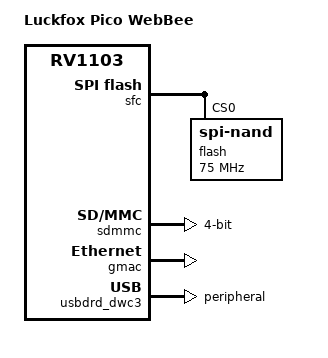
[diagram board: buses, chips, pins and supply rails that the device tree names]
// SPDX-License-Identifier: (GPL-2.0+ OR MIT)
/*
 * Copyright (c) 2022 Rockchip Electronics Co., Ltd.
 */

/dts-v1/;

#include "rv1103.dtsi"
#include "rv1106-evb.dtsi"
#include "rv1103-luckfox-pico-ipc.dtsi"

/ {
	model = "Luckfox Pico WebBee";
	compatible = "rockchip,rv1103g-38x38-ipc-v10", "rockchip,rv1103";
};

/**********SFC**********/
&sfc {
	status = "okay";
	flash@0 {
		compatible = "spi-nand";
		reg = <0>;
		spi-max-frequency = <75000000>;
		spi-rx-bus-width = <4>;
		spi-tx-bus-width = <1>;
	};
};

/**********SDMMC**********/
&sdmmc {
	max-frequency = <50000000>;
	no-sdio;
	no-mmc;
	bus-width = <4>;
	cap-mmc-highspeed;
	cap-sd-highspeed;
	disable-wp;
	pinctrl-names = "default";
	pinctrl-0 = <&sdmmc0_clk &sdmmc0_cmd &sdmmc0_det &sdmmc0_bus4>;
	status = "okay";
};

/**********ETH**********/
&gmac {
	status = "okay";
};

/**********USB**********/
&usbdrd_dwc3 {
	status = "okay";
	dr_mode = "peripheral";
};

/**********CSI**********/
&i2c4{
	status = "disabled";
};

/********AUDIO**********/
&i2s0_8ch {
	status = "disabled";
};

&acodec {
	status = "disabled";
};
